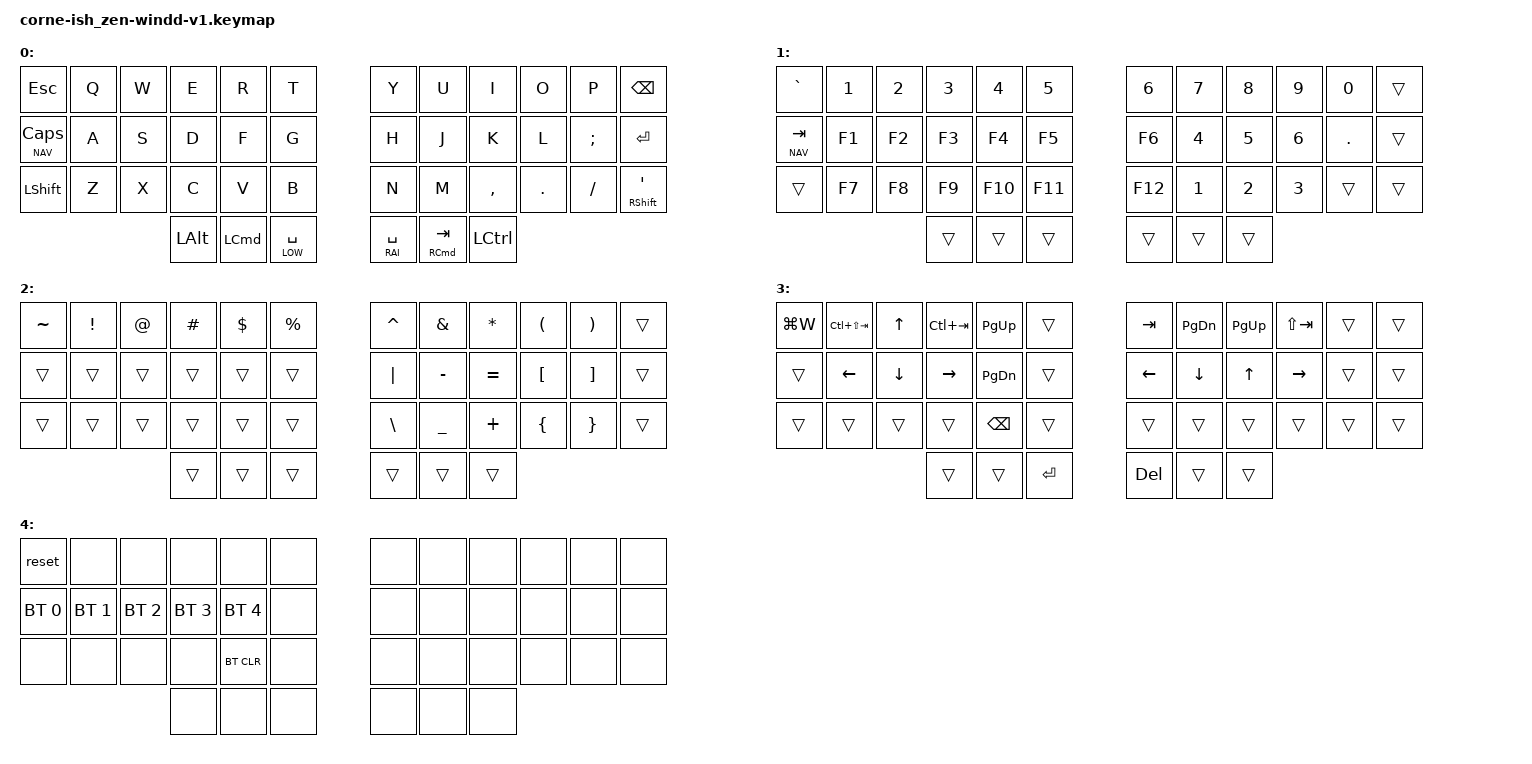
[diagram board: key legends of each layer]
/*
*
* Copyright (c) 2021 lowprokb.ca
* SPDX-License-Identifier: MIT
* Modified by: Yifeng
* Modified on: 2021-11-04
* Version: v0.99 rc
*/

#include <behaviors.dtsi>
#include <dt-bindings/zmk/keys.h>
#include <dt-bindings/zmk/bt.h>

#define DEF 0
#define LOW 1
#define RAI 2
#define NAV 3
#define ADJ 4

/ {
        combos {
                compatible = "zmk,combos";
                combo_esc {
                    timeout-ms = <50>;
                    key-positions = <17 29>; // F B
                    layers = <0>; //default layer only
                    bindings = <&mo ADJ>;
                };
        };

        keymap {
                compatible = "zmk,keymap";

                default_layer {
                        label = "";
                        bindings = <
&kp ESC       &kp Q    &kp W    &kp E    &kp R    &kp T       &kp Y    &kp U     &kp I        &kp O      &kp P       &kp BSPC
&lt NAV CAPS  &kp A    &kp S    &kp D    &kp F    &kp G       &kp H    &kp J     &kp K        &kp L      &kp SEMI    &kp RET
&kp LSHFT     &kp Z    &kp X    &kp C    &kp V    &kp B       &kp N    &kp M     &kp COMMA    &kp DOT    &kp FSLH &mt RSHFT SQT
                     &kp LALT    &kp LCMD &lt LOW SPACE       &lt RAI SPACE &mt RCMD TAB    &kp LCTRL
                        >;
                };

                low_layer {
                        label = "";
                        bindings = <
&kp GRAVE    &kp N1    &kp N2    &kp N3  &kp N4   &kp N5       &kp N6   &kp N7   &kp N8  &kp N9  &kp N0  &trans
&lt NAV TAB  &kp F1    &kp F2    &kp F3  &kp F4   &kp F5       &kp F6   &kp N4   &kp N5  &kp N6  &kp DOT &trans
&trans       &kp F7    &kp F8    &kp F9  &kp F10  &kp F11      &kp F12  &kp N1   &kp N2  &kp N3  &trans  &trans
                                  &trans  &trans  &trans       &trans  &trans  &trans
                        >;
                };

                rai_layer {
                        label = "";
                        bindings = <
&kp TILDE  &kp EXCL  &kp AT  &kp HASH  &kp DLLR  &kp PRCNT     &kp CARET  &kp AMPS   &kp ASTRK  &kp LPAR  &kp RPAR  &trans
&trans     &trans    &trans  &trans    &trans    &trans        &kp PIPE   &kp MINUS  &kp EQUAL  &kp LBKT  &kp RBKT  &trans
&trans     &trans    &trans  &trans    &trans    &trans        &kp BSLH   &kp UNDER  &kp PLUS   &kp LBRC  &kp RBRC  &trans
                                 &trans  &trans  &trans        &trans  &trans  &trans
                        >;
                };

                nav_layer {
                        label = "";
                        bindings = <
&kp LG(W)  &kp LC(LS(TAB))  &kp UP    &kp LC(TAB)  &kp PG_UP  &trans       &kp TAB  &kp PG_DN  &kp PG_UP  &kp LS(TAB)  &trans  &trans
&trans     &kp LEFT         &kp DOWN  &kp RIGHT    &kp PG_DN  &trans       &kp LEFT &kp DOWN   &kp UP     &kp RIGHT    &trans  &trans
&trans     &trans           &trans    &trans       &kp BSPC   &trans       &trans   &trans     &trans     &trans       &trans  &trans
                                             &trans  &trans  &kp RET       &kp DEL  &trans  &trans
                        >;
                };

                adj_layer {
                        label = "";
                        bindings = <
&reset       &none        &none        &none        &none        &none          &none  &none  &none  &none  &none  &none
&bt BT_SEL 0 &bt BT_SEL 1 &bt BT_SEL 2 &bt BT_SEL 3 &bt BT_SEL 4 &none          &none  &none  &none  &none  &none  &none
&none        &none        &none        &none        &bt BT_CLR   &none          &none  &none  &none  &none  &none  &none
                                                   &none  &none  &none          &none  &none  &none
                        >;
                };
        };
};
